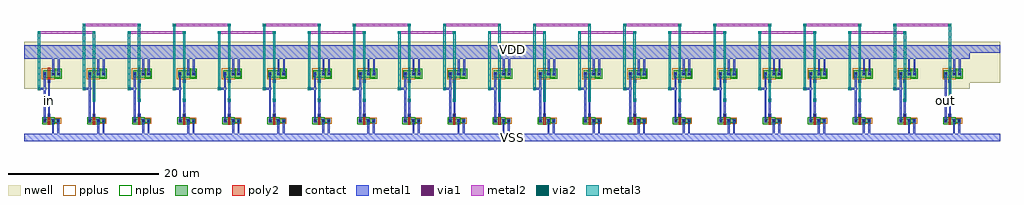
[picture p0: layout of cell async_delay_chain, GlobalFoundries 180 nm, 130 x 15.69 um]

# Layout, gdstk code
import gdstk
lib = gdstk.Library(unit=1e-6, precision=1e-09)
def R(c, l, rs):  # rectangles x0, y0, x1, y1
    for r in rs: c.add(gdstk.rectangle(r[:2], r[2:], *l))
def A(c, l, x, y, w, h, nx, ny, dx, dy):  # array of equal rectangles
    R(c, l, [(x+i*dx, y+j*dy, x+i*dx+w, y+j*dy+h) for i in range(nx) for j in range(ny)])
nwell = (21, 0)
comp = (22, 0)
poly2 = (30, 0)
pplus = (31, 0)
nplus = (32, 0)
contact = (33, 0)
metal1 = (34, 0)
via1 = (35, 0)
metal2 = (36, 0)
via2 = (38, 0)
metal3 = (42, 0)

async_delay_chain = lib.new_cell('async_delay_chain')
A(async_delay_chain, nwell, 0, 4.5, 6, 5.5, 21, 1, 6, 0)
A(async_delay_chain, nwell, 1.85, 5.31, 3.69, 2.38, 21, 1, 6, 0)
R(async_delay_chain, nwell, [(0,5.3,130,10.8)])
A(async_delay_chain, comp, 3, 0, 0.66, 0.5, 21, 1, 6, 0)
A(async_delay_chain, comp, 4.08, 0, 0.71, 0.5, 21, 1, 6, 0)
A(async_delay_chain, comp, 3, 6, 0.66, 1, 21, 1, 6, 0)
A(async_delay_chain, comp, 4.12, 6, 0.73, 1, 21, 1, 6, 0)
R(async_delay_chain, comp, [(2.58,0,3,0.5), (3.66,0,4.08,0.5), (8.58,0,9,0.5), (9.66,0,10.08,0.5), (14.58,0,15,0.5), (15.66,0,16.08,0.5), (20.58,0,21,0.5), (21.66,0,22.08,0.5), (26.58,0,27,0.5), (27.66,0,28.08,0.5), (32.58,0,33,0.5), (33.66,0,34.08,0.5), (38.58,0,39,0.5), (39.66,0,40.08,0.5), (44.58,0,45,0.5), (45.66,0,46.08,0.5), (50.58,0,51,0.5), (51.66,0,52.08,0.5), (56.58,0,57,0.5), (57.66,0,58.08,0.5), (62.58,0,63,0.5), (63.66,0,64.08,0.5), (68.58,0,69,0.5), (69.66,0,70.08,0.5), (74.58,0,75,0.5), (75.66,0,76.08,0.5), (80.58,0,81,0.5), (81.66,0,82.08,0.5), (86.58,0,87,0.5), (87.66,0,88.08,0.5), (92.58,0,93,0.5), (93.66,0,94.08,0.5), (98.58,0,99,0.5), (99.66,0,100.08,0.5), (104.58,0,105,0.5), (105.66,0,106.08,0.5), (110.58,0,111,0.5), (111.66,0,112.08,0.5), (116.58,0,117,0.5), (117.66,0,118.08,0.5), (122.58,0,123,0.5), (123.66,0,124.08,0.5), (2.54,6,3,7), (3.66,6,4.12,7), (8.54,6,9,7), (9.66,6,10.12,7), (14.54,6,15,7), (15.66,6,16.12,7), (20.54,6,21,7), (21.66,6,22.12,7), (26.54,6,27,7), (27.66,6,28.12,7), (32.54,6,33,7), (33.66,6,34.12,7), (38.54,6,39,7), (39.66,6,40.12,7), (44.54,6,45,7), (45.66,6,46.12,7), (50.54,6,51,7), (51.66,6,52.12,7), (56.54,6,57,7), (57.66,6,58.12,7), (62.54,6,63,7), (63.66,6,64.12,7), (68.54,6,69,7), (69.66,6,70.12,7), (74.54,6,75,7), (75.66,6,76.12,7), (80.54,6,81,7), (81.66,6,82.12,7), (86.54,6,87,7), (87.66,6,88.12,7), (92.54,6,93,7), (93.66,6,94.12,7), (98.54,6,99,7), (99.66,6,100.12,7), (104.54,6,105,7), (105.66,6,106.12,7), (110.54,6,111,7), (111.66,6,112.12,7), (116.54,6,117,7), (117.66,6,118.12,7), (122.54,6,123,7), (123.66,6,124.12,7)])
A(async_delay_chain, poly2, 3.19, -0.3, 0.28, 1.1, 21, 1, 6, 0)
A(async_delay_chain, poly2, 3.15, 0.8, 0.36, 0.36, 21, 1, 6, 0)
A(async_delay_chain, poly2, 3.14, 5.32, 0.38, 0.38, 21, 1, 6, 0)
A(async_delay_chain, poly2, 3.19, 5.7, 0.28, 1.6, 21, 1, 6, 0)
A(async_delay_chain, pplus, 4.08, -0.17, 0.88, 0.84, 21, 1, 6, 0)
A(async_delay_chain, pplus, 2.37, 5.76, 1.75, 1.48, 21, 1, 6, 0)
A(async_delay_chain, nplus, 2.41, -0.24, 1.67, 0.98, 21, 1, 6, 0)
A(async_delay_chain, nplus, 4.12, 5.83, 0.9, 1.34, 21, 1, 6, 0)
A(async_delay_chain, contact, 3.22, 0.87, 0.22, 0.22, 21, 2, 6, 4.53)
R(async_delay_chain, contact, [(2.68,0.14,2.9,0.36), (3.76,0.14,3.98,0.36), (4.47,0.14,4.69,0.36), (8.68,0.14,8.9,0.36), (9.76,0.14,9.98,0.36), (10.47,0.14,10.69,0.36), (14.68,0.14,14.9,0.36), (15.76,0.14,15.98,0.36), (16.47,0.14,16.69,0.36), (20.68,0.14,20.9,0.36), (21.76,0.14,21.98,0.36), (22.47,0.14,22.69,0.36), (26.68,0.14,26.9,0.36), (27.76,0.14,27.98,0.36), (28.47,0.14,28.69,0.36), (32.68,0.14,32.9,0.36), (33.76,0.14,33.98,0.36), (34.47,0.14,34.69,0.36), (38.68,0.14,38.9,0.36), (39.76,0.14,39.98,0.36), (40.47,0.14,40.69,0.36), (44.68,0.14,44.9,0.36), (45.76,0.14,45.98,0.36), (46.47,0.14,46.69,0.36), (50.68,0.14,50.9,0.36), (51.76,0.14,51.98,0.36), (52.47,0.14,52.69,0.36), (56.68,0.14,56.9,0.36), (57.76,0.14,57.98,0.36), (58.47,0.14,58.69,0.36), (62.68,0.14,62.9,0.36), (63.76,0.14,63.98,0.36), (64.47,0.14,64.69,0.36), (68.68,0.14,68.9,0.36), (69.76,0.14,69.98,0.36), (70.47,0.14,70.69,0.36), (74.68,0.14,74.9,0.36), (75.76,0.14,75.98,0.36), (76.47,0.14,76.69,0.36), (80.68,0.14,80.9,0.36), (81.76,0.14,81.98,0.36), (82.47,0.14,82.69,0.36), (86.68,0.14,86.9,0.36), (87.76,0.14,87.98,0.36), (88.47,0.14,88.69,0.36), (92.68,0.14,92.9,0.36), (93.76,0.14,93.98,0.36), (94.47,0.14,94.69,0.36), (98.68,0.14,98.9,0.36), (99.76,0.14,99.98,0.36), (100.47,0.14,100.69,0.36), (104.68,0.14,104.9,0.36), (105.76,0.14,105.98,0.36), (106.47,0.14,106.69,0.36), (110.68,0.14,110.9,0.36), (111.76,0.14,111.98,0.36), (112.47,0.14,112.69,0.36), (116.68,0.14,116.9,0.36), (117.76,0.14,117.98,0.36), (118.47,0.14,118.69,0.36), (122.68,0.14,122.9,0.36), (123.76,0.14,123.98,0.36), (124.47,0.14,124.69,0.36), (2.66,6.39,2.88,6.61), (3.78,6.39,4,6.61), (4.51,6.39,4.73,6.61), (8.66,6.39,8.88,6.61), (9.78,6.39,10,6.61), (10.51,6.39,10.73,6.61), (14.66,6.39,14.88,6.61), (15.78,6.39,16,6.61), (16.51,6.39,16.73,6.61), (20.66,6.39,20.88,6.61), (21.78,6.39,22,6.61), (22.51,6.39,22.73,6.61), (26.66,6.39,26.88,6.61), (27.78,6.39,28,6.61), (28.51,6.39,28.73,6.61), (32.66,6.39,32.88,6.61), (33.78,6.39,34,6.61), (34.51,6.39,34.73,6.61), (38.66,6.39,38.88,6.61), (39.78,6.39,40,6.61), (40.51,6.39,40.73,6.61), (44.66,6.39,44.88,6.61), (45.78,6.39,46,6.61), (46.51,6.39,46.73,6.61), (50.66,6.39,50.88,6.61), (51.78,6.39,52,6.61), (52.51,6.39,52.73,6.61), (56.66,6.39,56.88,6.61), (57.78,6.39,58,6.61), (58.51,6.39,58.73,6.61), (62.66,6.39,62.88,6.61), (63.78,6.39,64,6.61), (64.51,6.39,64.73,6.61), (68.66,6.39,68.88,6.61), (69.78,6.39,70,6.61), (70.51,6.39,70.73,6.61), (74.66,6.39,74.88,6.61), (75.78,6.39,76,6.61), (76.51,6.39,76.73,6.61), (80.66,6.39,80.88,6.61), (81.78,6.39,82,6.61), (82.51,6.39,82.73,6.61), (86.66,6.39,86.88,6.61), (87.78,6.39,88,6.61), (88.51,6.39,88.73,6.61), (92.66,6.39,92.88,6.61), (93.78,6.39,94,6.61), (94.51,6.39,94.73,6.61), (98.66,6.39,98.88,6.61), (99.78,6.39,100,6.61), (100.51,6.39,100.73,6.61), (104.66,6.39,104.88,6.61), (105.78,6.39,106,6.61), (106.51,6.39,106.73,6.61), (110.66,6.39,110.88,6.61), (111.78,6.39,112,6.61), (112.51,6.39,112.73,6.61), (116.66,6.39,116.88,6.61), (117.78,6.39,118,6.61), (118.51,6.39,118.73,6.61), (122.66,6.39,122.88,6.61), (123.78,6.39,124,6.61), (124.51,6.39,124.73,6.61)])
A(async_delay_chain, metal1, 0, -2.5, 6, 1, 21, 2, 6, 11)
A(async_delay_chain, metal1, 2.65, 0.25, 0.24, 6.25, 21, 1, 6, 0)
A(async_delay_chain, metal1, 3.14, 0.79, 0.38, 0.38, 21, 2, 6, 4.53)
A(async_delay_chain, metal1, 3.21, 0.98, 0.24, 4.53, 21, 1, 6, 0)
A(async_delay_chain, metal1, 9.14, 2.81, 0.38, 0.38, 20, 1, 6, 0)
A(async_delay_chain, metal1, 1.81, 4.31, 0.38, 0.38, 20, 1, 6, 0)
A(async_delay_chain, metal1, 1.81, 4.38, 1.15, 0.24, 20, 1, 6, 0)
R(async_delay_chain, metal1, [(0,-2.5,130,-1.5), (3.75,-2.5,3.99,0.25), (4.46,-2.5,4.7,0.25), (9.75,-2.5,9.99,0.25), (10.46,-2.5,10.7,0.25), (15.75,-2.5,15.99,0.25), (16.46,-2.5,16.7,0.25), (21.75,-2.5,21.99,0.25), (22.46,-2.5,22.7,0.25), (27.75,-2.5,27.99,0.25), (28.46,-2.5,28.7,0.25), (33.75,-2.5,33.99,0.25), (34.46,-2.5,34.7,0.25), (39.75,-2.5,39.99,0.25), (40.46,-2.5,40.7,0.25), (45.75,-2.5,45.99,0.25), (46.46,-2.5,46.7,0.25), (51.75,-2.5,51.99,0.25), (52.46,-2.5,52.7,0.25), (57.75,-2.5,57.99,0.25), (58.46,-2.5,58.7,0.25), (63.75,-2.5,63.99,0.25), (64.46,-2.5,64.7,0.25), (69.75,-2.5,69.99,0.25), (70.46,-2.5,70.7,0.25), (75.75,-2.5,75.99,0.25), (76.46,-2.5,76.7,0.25), (81.75,-2.5,81.99,0.25), (82.46,-2.5,82.7,0.25), (87.75,-2.5,87.99,0.25), (88.46,-2.5,88.7,0.25), (93.75,-2.5,93.99,0.25), (94.46,-2.5,94.7,0.25), (99.75,-2.5,99.99,0.25), (100.46,-2.5,100.7,0.25), (105.75,-2.5,105.99,0.25), (106.46,-2.5,106.7,0.25), (111.75,-2.5,111.99,0.25), (112.46,-2.5,112.7,0.25), (117.75,-2.5,117.99,0.25), (118.46,-2.5,118.7,0.25), (123.75,-2.5,123.99,0.25), (124.46,-2.5,124.7,0.25), (2.6,0.06,2.98,0.44), (3.68,0.06,4.06,0.44), (4.39,0.06,4.77,0.44), (8.6,0.06,8.98,0.44), (9.68,0.06,10.06,0.44), (10.39,0.06,10.77,0.44), (14.6,0.06,14.98,0.44), (15.68,0.06,16.06,0.44), (16.39,0.06,16.77,0.44), (20.6,0.06,20.98,0.44), (21.68,0.06,22.06,0.44), (22.39,0.06,22.77,0.44), (26.6,0.06,26.98,0.44), (27.68,0.06,28.06,0.44), (28.39,0.06,28.77,0.44), (32.6,0.06,32.98,0.44), (33.68,0.06,34.06,0.44), (34.39,0.06,34.77,0.44), (38.6,0.06,38.98,0.44), (39.68,0.06,40.06,0.44), (40.39,0.06,40.77,0.44), (44.6,0.06,44.98,0.44), (45.68,0.06,46.06,0.44), (46.39,0.06,46.77,0.44), (50.6,0.06,50.98,0.44), (51.68,0.06,52.06,0.44), (52.39,0.06,52.77,0.44), (56.6,0.06,56.98,0.44), (57.68,0.06,58.06,0.44), (58.39,0.06,58.77,0.44), (62.6,0.06,62.98,0.44), (63.68,0.06,64.06,0.44), (64.39,0.06,64.77,0.44), (68.6,0.06,68.98,0.44), (69.68,0.06,70.06,0.44), (70.39,0.06,70.77,0.44), (74.6,0.06,74.98,0.44), (75.68,0.06,76.06,0.44), (76.39,0.06,76.77,0.44), (80.6,0.06,80.98,0.44), (81.68,0.06,82.06,0.44), (82.39,0.06,82.77,0.44), (86.6,0.06,86.98,0.44), (87.68,0.06,88.06,0.44), (88.39,0.06,88.77,0.44), (92.6,0.06,92.98,0.44), (93.68,0.06,94.06,0.44), (94.39,0.06,94.77,0.44), (98.6,0.06,98.98,0.44), (99.68,0.06,100.06,0.44), (100.39,0.06,100.77,0.44), (104.6,0.06,104.98,0.44), (105.68,0.06,106.06,0.44), (106.39,0.06,106.77,0.44), (110.6,0.06,110.98,0.44), (111.68,0.06,112.06,0.44), (112.39,0.06,112.77,0.44), (116.6,0.06,116.98,0.44), (117.68,0.06,118.06,0.44), (118.39,0.06,118.77,0.44), (122.6,0.06,122.98,0.44), (123.68,0.06,124.06,0.44), (124.39,0.06,124.77,0.44), (2.58,6.31,2.96,6.69), (3.7,6.31,4.08,6.69), (4.43,6.31,4.81,6.69), (8.58,6.31,8.96,6.69), (9.7,6.31,10.08,6.69), (10.43,6.31,10.81,6.69), (14.58,6.31,14.96,6.69), (15.7,6.31,16.08,6.69), (16.43,6.31,16.81,6.69), (20.58,6.31,20.96,6.69), (21.7,6.31,22.08,6.69), (22.43,6.31,22.81,6.69), (26.58,6.31,26.96,6.69), (27.7,6.31,28.08,6.69), (28.43,6.31,28.81,6.69), (32.58,6.31,32.96,6.69), (33.7,6.31,34.08,6.69), (34.43,6.31,34.81,6.69), (38.58,6.31,38.96,6.69), (39.7,6.31,40.08,6.69), (40.43,6.31,40.81,6.69), (44.58,6.31,44.96,6.69), (45.7,6.31,46.08,6.69), (46.43,6.31,46.81,6.69), (50.58,6.31,50.96,6.69), (51.7,6.31,52.08,6.69), (52.43,6.31,52.81,6.69), (56.58,6.31,56.96,6.69), (57.7,6.31,58.08,6.69), (58.43,6.31,58.81,6.69), (62.58,6.31,62.96,6.69), (63.7,6.31,64.08,6.69), (64.43,6.31,64.81,6.69), (68.58,6.31,68.96,6.69), (69.7,6.31,70.08,6.69), (70.43,6.31,70.81,6.69), (74.58,6.31,74.96,6.69), (75.7,6.31,76.08,6.69), (76.43,6.31,76.81,6.69), (80.58,6.31,80.96,6.69), (81.7,6.31,82.08,6.69), (82.43,6.31,82.81,6.69), (86.58,6.31,86.96,6.69), (87.7,6.31,88.08,6.69), (88.43,6.31,88.81,6.69), (92.58,6.31,92.96,6.69), (93.7,6.31,94.08,6.69), (94.43,6.31,94.81,6.69), (98.58,6.31,98.96,6.69), (99.7,6.31,100.08,6.69), (100.43,6.31,100.81,6.69), (104.58,6.31,104.96,6.69), (105.7,6.31,106.08,6.69), (106.43,6.31,106.81,6.69), (110.58,6.31,110.96,6.69), (111.7,6.31,112.08,6.69), (112.43,6.31,112.81,6.69), (116.58,6.31,116.96,6.69), (117.7,6.31,118.08,6.69), (118.43,6.31,118.81,6.69), (122.58,6.31,122.96,6.69), (123.7,6.31,124.08,6.69), (124.43,6.31,124.81,6.69), (3.77,6.5,4.01,9.5), (4.5,6.5,4.74,9.5), (9.77,6.5,10.01,9.5), (10.5,6.5,10.74,9.5), (15.77,6.5,16.01,9.5), (16.5,6.5,16.74,9.5), (21.77,6.5,22.01,9.5), (22.5,6.5,22.74,9.5), (27.77,6.5,28.01,9.5), (28.5,6.5,28.74,9.5), (33.77,6.5,34.01,9.5), (34.5,6.5,34.74,9.5), (39.77,6.5,40.01,9.5), (40.5,6.5,40.74,9.5), (45.77,6.5,46.01,9.5), (46.5,6.5,46.74,9.5), (51.77,6.5,52.01,9.5), (52.5,6.5,52.74,9.5), (57.77,6.5,58.01,9.5), (58.5,6.5,58.74,9.5), (63.77,6.5,64.01,9.5), (64.5,6.5,64.74,9.5), (69.77,6.5,70.01,9.5), (70.5,6.5,70.74,9.5), (75.77,6.5,76.01,9.5), (76.5,6.5,76.74,9.5), (81.77,6.5,82.01,9.5), (82.5,6.5,82.74,9.5), (87.77,6.5,88.01,9.5), (88.5,6.5,88.74,9.5), (93.77,6.5,94.01,9.5), (94.5,6.5,94.74,9.5), (99.77,6.5,100.01,9.5), (100.5,6.5,100.74,9.5), (105.77,6.5,106.01,9.5), (106.5,6.5,106.74,9.5), (111.77,6.5,112.01,9.5), (112.5,6.5,112.74,9.5), (117.77,6.5,118.01,9.5), (118.5,6.5,118.74,9.5), (123.77,6.5,124.01,9.5), (124.5,6.5,124.74,9.5), (0,9.3,130,10.3)])
A(async_delay_chain, via1, 9.2, 2.87, 0.26, 0.26, 20, 1, 6, 0)
A(async_delay_chain, via1, 1.87, 4.37, 0.26, 0.26, 20, 1, 6, 0)
A(async_delay_chain, metal2, 9.14, 2.81, 0.38, 0.38, 20, 1, 6, 0)
A(async_delay_chain, metal2, 1.81, 4.31, 0.38, 0.38, 20, 1, 6, 0)
A(async_delay_chain, metal2, 1.81, 11.86, 7.71, 0.28, 10, 1, 12, 0)
A(async_delay_chain, metal2, 7.81, 12.86, 7.71, 0.28, 10, 1, 12, 0)
R(async_delay_chain, metal2, [(1.81,11.81,2.19,12.19), (9.14,11.81,9.52,12.19), (13.81,11.81,14.19,12.19), (21.14,11.81,21.52,12.19), (25.81,11.81,26.19,12.19), (33.14,11.81,33.52,12.19), (37.81,11.81,38.19,12.19), (45.14,11.81,45.52,12.19), (49.81,11.81,50.19,12.19), (57.14,11.81,57.52,12.19), (61.81,11.81,62.19,12.19), (69.14,11.81,69.52,12.19), (73.81,11.81,74.19,12.19), (81.14,11.81,81.52,12.19), (85.81,11.81,86.19,12.19), (93.14,11.81,93.52,12.19), (97.81,11.81,98.19,12.19), (105.14,11.81,105.52,12.19), (109.81,11.81,110.19,12.19), (117.14,11.81,117.52,12.19), (7.81,12.81,8.19,13.19), (15.14,12.81,15.52,13.19), (19.81,12.81,20.19,13.19), (27.14,12.81,27.52,13.19), (31.81,12.81,32.19,13.19), (39.14,12.81,39.52,13.19), (43.81,12.81,44.19,13.19), (51.14,12.81,51.52,13.19), (55.81,12.81,56.19,13.19), (63.14,12.81,63.52,13.19), (67.81,12.81,68.19,13.19), (75.14,12.81,75.52,13.19), (79.81,12.81,80.19,13.19), (87.14,12.81,87.52,13.19), (91.81,12.81,92.19,13.19), (99.14,12.81,99.52,13.19), (103.81,12.81,104.19,13.19), (111.14,12.81,111.52,13.19), (115.81,12.81,116.19,13.19), (123.14,12.81,123.52,13.19)])
A(async_delay_chain, via2, 9.2, 2.87, 0.26, 0.26, 20, 1, 6, 0)
A(async_delay_chain, via2, 1.87, 4.37, 0.26, 0.26, 20, 1, 6, 0)
R(async_delay_chain, via2, [(1.87,11.87,2.13,12.13), (9.2,11.87,9.46,12.13), (13.87,11.87,14.13,12.13), (21.2,11.87,21.46,12.13), (25.87,11.87,26.13,12.13), (33.2,11.87,33.46,12.13), (37.87,11.87,38.13,12.13), (45.2,11.87,45.46,12.13), (49.87,11.87,50.13,12.13), (57.2,11.87,57.46,12.13), (61.87,11.87,62.13,12.13), (69.2,11.87,69.46,12.13), (73.87,11.87,74.13,12.13), (81.2,11.87,81.46,12.13), (85.87,11.87,86.13,12.13), (93.2,11.87,93.46,12.13), (97.87,11.87,98.13,12.13), (105.2,11.87,105.46,12.13), (109.87,11.87,110.13,12.13), (117.2,11.87,117.46,12.13), (7.87,12.87,8.13,13.13), (15.2,12.87,15.46,13.13), (19.87,12.87,20.13,13.13), (27.2,12.87,27.46,13.13), (31.87,12.87,32.13,13.13), (39.2,12.87,39.46,13.13), (43.87,12.87,44.13,13.13), (51.2,12.87,51.46,13.13), (55.87,12.87,56.13,13.13), (63.2,12.87,63.46,13.13), (67.87,12.87,68.13,13.13), (75.2,12.87,75.46,13.13), (79.87,12.87,80.13,13.13), (87.2,12.87,87.46,13.13), (91.87,12.87,92.13,13.13), (99.2,12.87,99.46,13.13), (103.87,12.87,104.13,13.13), (111.2,12.87,111.46,13.13), (115.87,12.87,116.13,13.13), (123.2,12.87,123.46,13.13)])
A(async_delay_chain, metal3, 9.14, 2.81, 0.38, 0.38, 20, 1, 6, 0)
A(async_delay_chain, metal3, 9.18, 3, 0.3, 9, 10, 1, 12, 0)
A(async_delay_chain, metal3, 15.18, 3, 0.3, 10, 10, 1, 12, 0)
A(async_delay_chain, metal3, 1.81, 4.31, 0.38, 0.38, 20, 1, 6, 0)
A(async_delay_chain, metal3, 1.85, 4.5, 0.3, 7.5, 10, 1, 12, 0)
A(async_delay_chain, metal3, 7.85, 4.5, 0.3, 8.5, 10, 1, 12, 0)
R(async_delay_chain, metal3, [(1.81,11.81,2.19,12.19), (9.14,11.81,9.52,12.19), (13.81,11.81,14.19,12.19), (21.14,11.81,21.52,12.19), (25.81,11.81,26.19,12.19), (33.14,11.81,33.52,12.19), (37.81,11.81,38.19,12.19), (45.14,11.81,45.52,12.19), (49.81,11.81,50.19,12.19), (57.14,11.81,57.52,12.19), (61.81,11.81,62.19,12.19), (69.14,11.81,69.52,12.19), (73.81,11.81,74.19,12.19), (81.14,11.81,81.52,12.19), (85.81,11.81,86.19,12.19), (93.14,11.81,93.52,12.19), (97.81,11.81,98.19,12.19), (105.14,11.81,105.52,12.19), (109.81,11.81,110.19,12.19), (117.14,11.81,117.52,12.19), (7.81,12.81,8.19,13.19), (15.14,12.81,15.52,13.19), (19.81,12.81,20.19,13.19), (27.14,12.81,27.52,13.19), (31.81,12.81,32.19,13.19), (39.14,12.81,39.52,13.19), (43.81,12.81,44.19,13.19), (51.14,12.81,51.52,13.19), (55.81,12.81,56.19,13.19), (63.14,12.81,63.52,13.19), (67.81,12.81,68.19,13.19), (75.14,12.81,75.52,13.19), (79.81,12.81,80.19,13.19), (87.14,12.81,87.52,13.19), (91.81,12.81,92.19,13.19), (99.14,12.81,99.52,13.19), (103.81,12.81,104.19,13.19), (111.14,12.81,111.52,13.19), (115.81,12.81,116.19,13.19), (123.14,12.81,123.52,13.19)])
async_delay_chain.add(gdstk.Label('VDD', (65,9.8), layer=34, texttype=0))
async_delay_chain.add(gdstk.Label('VSS', (65,-2), layer=34, texttype=0))
async_delay_chain.add(gdstk.Label('in', (3.33,3), layer=34, texttype=0))
async_delay_chain.add(gdstk.Label('out', (122.77,3), layer=34, texttype=0))
async_delay_chain.add(gdstk.Label('VDD', (65,9.8), layer=34, texttype=10))
async_delay_chain.add(gdstk.Label('VSS', (65,-2), layer=34, texttype=10))
async_delay_chain.add(gdstk.Label('in', (3.33,3), layer=34, texttype=10))
async_delay_chain.add(gdstk.Label('out', (122.77,3), layer=34, texttype=10))

lib.write_gds('async_delay_chain.gds')
